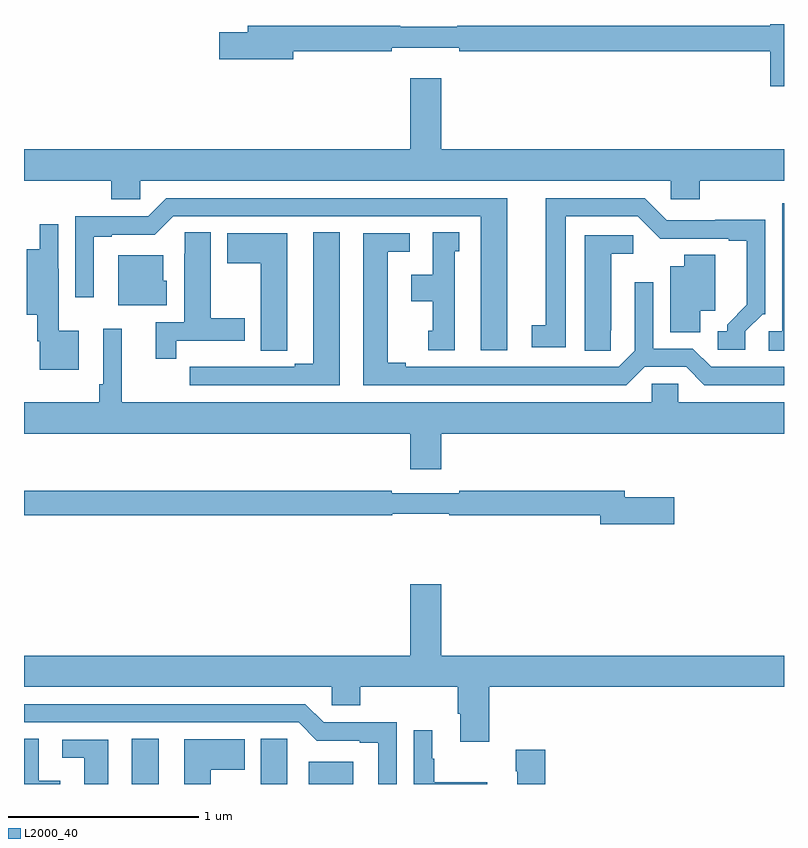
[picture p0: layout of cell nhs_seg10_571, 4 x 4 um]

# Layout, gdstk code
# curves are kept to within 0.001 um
import gdstk
lib = gdstk.Library(unit=1e-6, precision=1e-09)
def R(c, l, rs):  # rectangles x0, y0, x1, y1
    for r in rs: c.add(gdstk.rectangle(r[:2], r[2:], *l))
def P(c, l, *ps):  # polygons
    for p in ps: c.add(gdstk.Polygon(p, *l))
L2000_40 = (2000, 40)

nhs_seg10_571 = lib.new_cell('nhs_seg10_571')
R(nhs_seg10_571, L2000_40, [(139.568,1270.5,139.708,1270.739), (140.498,1270.5,140.734,1270.618)])
P(nhs_seg10_571, L2000_40, [(143,1274.5),(142.928,1274.5),(142.928,1274.492),(141.281,1274.492),(141.281,1274.485),(140.981,1274.485),(140.981,1274.492),(140.177,1274.492),(140.177,1274.456),(140.028,1274.456),(140.028,1274.314),(140.416,1274.314),(140.416,1274.356),(140.936,1274.356),(140.936,1274.375),(141.292,1274.375),(141.292,1274.356),(142.928,1274.356),(142.928,1274.172),(143,1274.172)],
  [(139.611,1273.676),(142.404,1273.676),(142.404,1273.578),(142.556,1273.578),(142.556,1273.676),(143,1273.676),(143,1273.84),(141.196,1273.84),(141.196,1274.215),(141.032,1274.215),(141.032,1273.84),(139,1273.84),(139,1273.676),(139.46,1273.676),(139.46,1273.578),(139.611,1273.578)],
  [(142.797,1272.882),(142.887,1272.972),(142.902,1272.972),(142.902,1273.469),(142.639,1273.469),(142.639,1273.467),(142.383,1273.467),(142.266,1273.584),(141.746,1273.584),(141.746,1272.914),(141.672,1272.914),(141.672,1272.798),(141.85,1272.798),(141.85,1273.488),(142.23,1273.488),(142.348,1273.37),(142.709,1273.371),(142.709,1273.359),(142.805,1273.359),(142.805,1273.022),(142.7,1272.917),(142.7,1272.882),(142.65,1272.882),(142.65,1272.786),(142.797,1272.786)],
  [(141.544,1273.584),(139.749,1273.584),(139.653,1273.488),(139.269,1273.488),(139.269,1273.062),(139.366,1273.062),(139.366,1273.38),(139.462,1273.38),(139.462,1273.392),(139.689,1273.392),(139.785,1273.488),(141.404,1273.488),(141.404,1272.783),(141.544,1272.783)],
  [(143,1273.557),(142.992,1273.557),(142.992,1272.882),(142.92,1272.882),(142.92,1272.781),(143,1272.781)],
  [(139.288,1272.886),(139.182,1272.886),(139.182,1273.211),(139.18,1273.211),(139.18,1273.447),(139.082,1273.447),(139.082,1273.315),(139.015,1273.315),(139.015,1272.971),(139.071,1272.971),(139.071,1272.83),(139.083,1272.83),(139.083,1272.68),(139.288,1272.68)],
  [(140.662,1273.403),(140.522,1273.403),(140.522,1272.711),(140.426,1272.711),(140.426,1272.696),(140.15,1272.696),(140.15,1272.697),(139.984,1272.697),(139.984,1272.696),(139.872,1272.696),(139.872,1272.6),(140.662,1272.6)],
  [(139.802,1272.834),(140.161,1272.834),(140.161,1272.951),(139.984,1272.951),(139.984,1273.403),(139.845,1273.403),(139.845,1273.292),(139.844,1273.292),(139.844,1272.93),(139.694,1272.93),(139.694,1272.738),(139.802,1272.738)],
  [(141.268,1273.305),(141.292,1273.305),(141.292,1273.403),(141.152,1273.403),(141.152,1273.18),(141.038,1273.18),(141.038,1273.04),(141.152,1273.04),(141.152,1272.885),(141.128,1272.885),(141.128,1272.783),(141.268,1272.783)],
  [(140.385,1272.889),(140.386,1272.889),(140.386,1273.399),(140.069,1273.399),(140.069,1273.24),(140.246,1273.24),(140.246,1272.781),(140.385,1272.781)],
  [(142.267,1272.696),(142.485,1272.696),(142.581,1272.6),(143,1272.6),(143,1272.696),(142.617,1272.696),(142.521,1272.792),(142.311,1272.792),(142.311,1273.141),(142.215,1273.141),(142.215,1272.78),(142.131,1272.696),(141.01,1272.696),(141.01,1272.716),(140.914,1272.716),(140.914,1273.302),(141.031,1273.302),(141.031,1273.398),(140.786,1273.398),(140.786,1272.6),(142.171,1272.6)],
  [(142.089,1272.889),(142.09,1272.889),(142.09,1273.292),(142.207,1273.292),(142.207,1273.389),(141.95,1273.389),(141.95,1272.781),(142.089,1272.781)],
  [(142.558,1272.992),(142.639,1272.992),(142.639,1273.286),(142.475,1273.286),(142.475,1273.225),(142.4,1273.225),(142.4,1272.877),(142.558,1272.877)],
  [(139.75,1273.149),(139.732,1273.149),(139.732,1273.282),(139.496,1273.282),(139.496,1273.019),(139.75,1273.019)],
  [(141.196,1272.344),(143,1272.344),(143,1272.508),(142.443,1272.508),(142.443,1272.606),(142.305,1272.606),(142.305,1272.508),(139.514,1272.508),(139.514,1272.895),(139.416,1272.895),(139.416,1272.604),(139.396,1272.604),(139.396,1272.508),(139,1272.508),(139,1272.344),(141.032,1272.344),(141.032,1272.156),(141.196,1272.156)],
  [(142.423,1272.009),(142.162,1272.009),(142.162,1272.043),(141.292,1272.043),(141.292,1272.03),(140.936,1272.03),(140.936,1272.043),(139,1272.043),(139,1271.914),(140.938,1271.914),(140.938,1271.922),(141.238,1271.922),(141.238,1271.914),(142.034,1271.914),(142.034,1271.867),(142.423,1271.867)],
  [(141.449,1271.012),(143,1271.012),(143,1271.176),(141.196,1271.176),(141.196,1271.551),(141.032,1271.551),(141.032,1271.176),(139,1271.176),(139,1271.012),(140.619,1271.012),(140.619,1270.914),(140.771,1270.914),(140.771,1271.012),(141.284,1271.012),(141.284,1270.87),(141.296,1270.87),(141.296,1270.722),(141.449,1270.722)],
  [(140.961,1270.824),(140.577,1270.824),(140.481,1270.92),(139,1270.92),(139,1270.824),(140.445,1270.824),(140.541,1270.728),(140.768,1270.728),(140.768,1270.716),(140.864,1270.716),(140.864,1270.5),(140.961,1270.5)],
  [(141.439,1270.51),(141.16,1270.51),(141.16,1270.634),(141.148,1270.634),(141.148,1270.783),(141.051,1270.783),(141.051,1270.5),(141.439,1270.5)],
  [(139.192,1270.516),(139.078,1270.516),(139.078,1270.739),(139,1270.739),(139,1270.5),(139.192,1270.5)],
  [(140.386,1270.628),(140.385,1270.628),(140.385,1270.739),(140.246,1270.739),(140.246,1270.5),(140.386,1270.5)],
  [(139.984,1270.576),(140.161,1270.576),(140.161,1270.735),(139.844,1270.735),(139.844,1270.5),(139.984,1270.5)],
  [(139.444,1270.734),(139.2,1270.734),(139.2,1270.638),(139.316,1270.638),(139.316,1270.5),(139.444,1270.5)],
  [(141.743,1270.681),(141.589,1270.681),(141.589,1270.568),(141.596,1270.568),(141.596,1270.5),(141.743,1270.5)])

lib.write_gds('nhs_seg10_571.gds')
